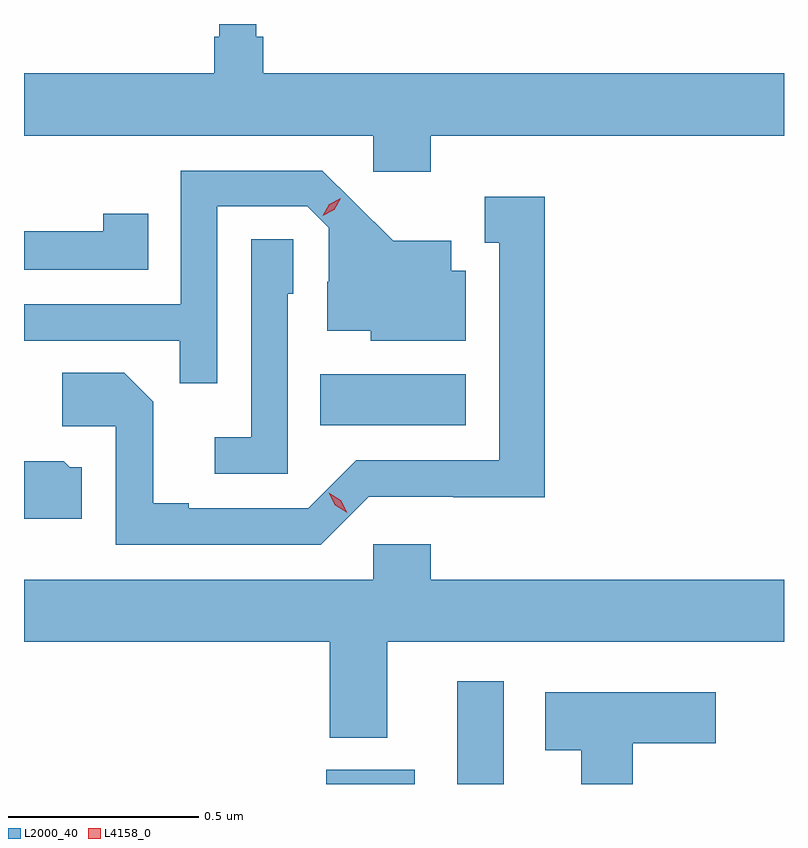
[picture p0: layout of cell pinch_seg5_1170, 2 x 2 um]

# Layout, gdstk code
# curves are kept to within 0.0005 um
import gdstk
lib = gdstk.Library(unit=1e-6, precision=1e-09)
def R(c, l, rs):  # rectangles x0, y0, x1, y1
    for r in rs: c.add(gdstk.rectangle(r[:2], r[2:], *l))
def P(c, l, *ps):  # polygons
    for p in ps: c.add(gdstk.Polygon(p, *l))
L2000_40 = (2000, 40)
L4158_0 = (4158, 0)

pinch_seg5_1170 = lib.new_cell('pinch_seg5_1170')
R(pinch_seg5_1170, L2000_40, [(779.852,840.402,780.085,840.439), (780.197,840.402,780.319,840.673), (779.836,841.346,780.22,841.48)])
P(pinch_seg5_1170, L2000_40, [(780.128,842.108),(781.057,842.108),(781.057,842.272),(779.687,842.272),(779.687,842.368),(779.668,842.368),(779.668,842.402),(779.571,842.402),(779.571,842.368),(779.558,842.368),(779.558,842.272),(779.057,842.272),(779.057,842.108),(779.976,842.108),(779.976,842.013),(780.128,842.013)],
  [(779.565,841.923),(779.802,841.923),(779.859,841.866),(779.859,841.724),(779.855,841.724),(779.855,841.595),(779.97,841.595),(779.97,841.568),(780.22,841.568),(780.22,841.753),(780.181,841.753),(780.181,841.831),(780.029,841.831),(779.842,842.016),(779.469,842.016),(779.469,841.665),(779.057,841.665),(779.057,841.569),(779.467,841.569),(779.467,841.456),(779.565,841.456)],
  [(779.964,841.158),(780.186,841.158),(780.186,841.157),(780.427,841.157),(780.427,841.948),(780.269,841.948),(780.269,841.827),(780.308,841.827),(780.308,841.254),(779.931,841.254),(779.805,841.128),(779.491,841.128),(779.491,841.141),(779.397,841.141),(779.397,841.408),(779.321,841.484),(779.157,841.484),(779.157,841.344),(779.298,841.344),(779.298,841.032),(779.838,841.032)],
  [(779.384,841.903),(779.266,841.903),(779.266,841.856),(779.057,841.856),(779.057,841.755),(779.384,841.755)],
  [(779.751,841.692),(779.766,841.692),(779.766,841.835),(779.655,841.835),(779.655,841.315),(779.559,841.315),(779.559,841.218),(779.751,841.218)],
  [(779.209,841.236),(779.178,841.236),(779.162,841.252),(779.057,841.252),(779.057,841.1),(779.209,841.1)],
  [(780.013,840.776),(781.057,840.776),(781.057,840.94),(780.128,840.94),(780.128,841.033),(779.976,841.033),(779.976,840.94),(779.057,840.94),(779.057,840.776),(779.861,840.776),(779.861,840.524),(780.013,840.524)],
  [(780.659,840.509),(780.877,840.509),(780.877,840.643),(780.429,840.643),(780.429,840.491),(780.524,840.491),(780.524,840.402),(780.659,840.402)])
P(pinch_seg5_1170, L4158_0, [(779.907,841.116),(779.876,841.136),(779.859,841.168),(779.859,841.169),(779.859,841.169),(779.89,841.149),(779.907,841.116),(779.907,841.116)],
  [(779.843,841.898),(779.843,841.898),(779.86,841.928),(779.891,841.944),(779.891,841.944),(779.891,841.943),(779.874,841.913),(779.843,841.898)])

lib.write_gds('pinch_seg5_1170.gds')
